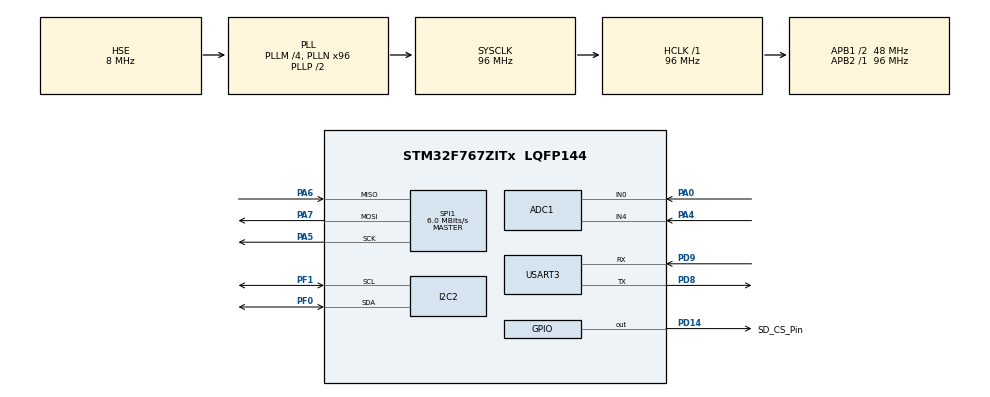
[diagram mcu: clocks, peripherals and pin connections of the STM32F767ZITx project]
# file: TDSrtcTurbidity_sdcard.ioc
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ADC1.Channel-0\#ChannelRegularConversion=ADC_CHANNEL_0
ADC1.NbrOfConversionFlag=1
ADC1.Rank-0\#ChannelRegularConversion=1
ADC1.SamplingTime-0\#ChannelRegularConversion=ADC_SAMPLETIME_3CYCLES
ADC1.master=1
I2C2.Timing=0x20303E5D
Mcu.Family=STM32F7
Mcu.Name=STM32F767ZITx
Mcu.Package=LQFP144
NVIC.PriorityGroup=NVIC_PRIORITYGROUP_4
PA0/WKUP.Signal=ADCx_IN0
PA4.Signal=ADCx_IN4
PA5.Mode=Full_Duplex_Master
PA5.Signal=SPI1_SCK
PA6.Mode=Full_Duplex_Master
PA6.Signal=SPI1_MISO
PA7.Mode=Full_Duplex_Master
PA7.Signal=SPI1_MOSI
PD14.GPIO_Label=SD_CS_Pin
PD14.GPIO_Speed=GPIO_SPEED_FREQ_VERY_HIGH
PD14.Signal=GPIO_Output
PD8.Mode=Asynchronous
PD8.Signal=USART3_TX
PD9.Mode=Asynchronous
PD9.Signal=USART3_RX
PF0.Mode=I2C
PF0.Signal=I2C2_SDA
PF1.Mode=I2C
PF1.Signal=I2C2_SCL
PH0/OSC_IN.Mode=HSE-External-Oscillator
PH0/OSC_IN.Signal=RCC_OSC_IN
PH1/OSC_OUT.Mode=HSE-External-Oscillator
PH1/OSC_OUT.Signal=RCC_OSC_OUT
ProjectManager.HeapSize=0x200
ProjectManager.StackSize=0x400
ProjectManager.TargetToolchain=STM32CubeIDE
RCC.48MHZClocksFreq_Value=24000000
RCC.AHBFreq_Value=96000000
RCC.APB1CLKDivider=RCC_HCLK_DIV2
RCC.APB1Freq_Value=48000000
RCC.APB1TimFreq_Value=96000000
RCC.APB2Freq_Value=96000000
RCC.APB2TimFreq_Value=96000000
RCC.CortexFreq_Value=96000000
RCC.HCLKFreq_Value=96000000
RCC.HSE_VALUE=8000000
RCC.HSI_VALUE=16000000
RCC.LSE_VALUE=32768
RCC.PLLM=4
RCC.PLLMUL=RCC_PLL_MUL9
RCC.PLLN=96
RCC.PLLQ=4
RCC.PLLSourceVirtual=RCC_PLLSOURCE_HSE
RCC.PRESCALERUSB=RCC_USBCLKSOURCE_PLL_DIV1_5
RCC.SYSCLKFreq_VALUE=96000000
RCC.SYSCLKSource=RCC_SYSCLKSOURCE_PLLCLK
RCC.SYSCLKSourceVirtual=RCC_SYSCLKSOURCE_PLLCLK
RCC.USBFreq_Value=48000000
RCC.VCOOutputFreq_Value=192000000
SH.ADCx_IN0.0=ADC1_IN0,IN0
SH.ADCx_IN4.0=ADC1_IN4,IN4
SPI1.BaudRatePrescaler=SPI_BAUDRATEPRESCALER_16
SPI1.CalculateBaudRate=6.0 MBits/s
SPI1.DataSize=SPI_DATASIZE_8BIT
SPI1.Direction=SPI_DIRECTION_2LINES
SPI1.Mode=SPI_MODE_MASTER
SPI1.VirtualType=VM_MASTER
USART3.VirtualMode-Asynchronous=VM_ASYNC
VP_FATFS_VS_Generic.Mode=User_defined
VP_RTC_VS_RTC_Activate.Mode=RTC_Enabled
board=NUCLEO-F767ZI

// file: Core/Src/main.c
/* USER CODE BEGIN Header */
/**
  ******************************************************************************
  * @file           : main.c
  * @brief          : Main program body
  ******************************************************************************
  * @attention
  *
  * Copyright (c) 2025 STMicroelectronics.
  * All rights reserved.
  *
  * This software is licensed under terms that can be found in the LICENSE file
  * in the root directory of this software component.
  * If no LICENSE file comes with this software, it is provided AS-IS.
  *
  ******************************************************************************
  */
/* USER CODE END Header */
#include "main.h"
#include "fatfs.h"

/* USER CODE BEGIN PTD */
#define VREF 3.3f
#define VREF_T 3.3f
#define ADC_RES 4096.0f
#define TEMP 25.0f
#define ADDRESS_LCD 0x27
#define SAMPLES 30
/* USER CODE END PTD */

ADC_HandleTypeDef hadc1;

I2C_HandleTypeDef hi2c2;

RTC_HandleTypeDef hrtc;

SPI_HandleTypeDef hspi1;

UART_HandleTypeDef huart3;

/* USER CODE BEGIN PV */
uint32_t adc_samples[SAMPLES];
char csv_buffer[150];
UINT bytes_read;
RTC_DateTypeDef current_date;
/* USER CODE END PV */

void SystemClock_Config(void);
static void MX_GPIO_Init(void);
static void MX_DMA_Init(void);
static void MX_USART3_UART_Init(void);
static void MX_ADC1_Init(void);
static void MX_I2C2_Init(void);
static void MX_RTC_Init(void);
static void MX_SPI1_Init(void);
/* USER CODE BEGIN PFP */
/* USER CODE BEGIN PFP */

/* USER CODE BEGIN PFP */
int _write(int file, char *ptr, int len)
{
    HAL_UART_Transmit(&huart3, (uint8_t*)ptr, len, HAL_MAX_DELAY);
    return len;
}

uint32_t adc_value = 0;
float volt = 0;
float tds_val, turbidity_val = 0;
uint8_t uart_buf[50];
RTC_TimeTypeDef current_time;
RTC_TimeTypeDef last_time;
uint8_t first_run = 1;
/* USER CODE END PFP */

/* USER CODE BEGIN 0 */
void lcd_send_cmd (char cmd)
{
  char data_u, data_l,ret1;
	uint8_t data_t[4];
	data_u = (cmd&0xf0);
	data_l = ((cmd<<4)&0xf0);
	data_t[0] = data_u|0x0C;  //en=1, rs=0
	data_t[1] = data_u|0x08;  //en=0, rs=0
	data_t[2] = data_l|0x0C;  //en=1, rs=0
	data_t[3] = data_l|0x08;  //en=0, rs=0
	ret1 = HAL_I2C_Master_Transmit (&hi2c2, (ADDRESS_LCD << 1) ,(uint8_t *) data_t, 4, 100);
}

void lcd_send_data (char data)
{
	char data_u, data_l;
	uint8_t data_t[4];
	data_u = (data&0xf0);
	data_l = ((data<<4)&0xf0);
	data_t[0] = data_u|0x0D;  //en=1, rs=1
	data_t[1] = data_u|0x09;  //en=0, rs=1
	data_t[2] = data_l|0x0D;  //en=1, rs=1
	data_t[3] = data_l|0x09;  //en=0, rs=1
	HAL_I2C_Master_Transmit (&hi2c2, (ADDRESS_LCD << 1),(uint8_t *) data_t, 4, 100);
}

void lcd_init (void)
{
	// 4 bit initialisation

	lcd_send_cmd (0x28);
	HAL_Delay(1);
	lcd_send_cmd (0x08);
	HAL_Delay(1);
	lcd_send_cmd (0x01);
	HAL_Delay(1);
	HAL_Delay(1);
	lcd_send_cmd (0x06);
	HAL_Delay(1);
	lcd_send_cmd (0x0C);
}

void lcd_send_string (char *str)
{
	while (*str) lcd_send_data (*str++);
}

/* Private user code ---------------------------------------------------------*/
/* USER CODE BEGIN 0 */
float READ_TDS_Sensor(void)
{
    float tds = 0;
    float voltage = 0;
    uint32_t adc_sum = 0;

    // ADD THIS: Configure ADC for Channel 0 (PA0) - TDS Sensor
    ADC_ChannelConfTypeDef sConfig = {0};
    sConfig.Channel = ADC_CHANNEL_0;  // PA0 for TDS
    sConfig.Rank = ADC_REGULAR_RANK_1;
    sConfig.SamplingTime = ADC_SAMPLETIME_3CYCLES;
    HAL_ADC_ConfigChannel(&hadc1, &sConfig);

    // Take 30 samples
    for(int i = 0; i < SAMPLES; i++)
    {
        HAL_ADC_Start(&hadc1);
        if(HAL_ADC_PollForConversion(&hadc1, 100) == HAL_OK)
        {
            adc_samples[i] = HAL_ADC_GetValue(&hadc1);
            adc_sum += adc_samples[i];
        }
        HAL_ADC_Stop(&hadc1);
        HAL_Delay(33);  // 33ms × 30 = ~1 second total
    }

    // Calculate average
    uint32_t adc_avg = adc_sum / SAMPLES;
    voltage = (adc_avg * VREF) / ADC_RES;

    // Calculate TDS
    tds = (133.42f * voltage * voltage * voltage
           - 255.86f * voltage * voltage
           + 857.39f * voltage) * 0.5f;

    if(tds < 0) tds = 0;

    return tds;
}

float READ_Turbidity_Sensor(void)
{
    float turbidity = 0;
    uint32_t adc_sum = 0;

    // Configure ADC for Channel 4 (PA4)
    ADC_ChannelConfTypeDef sConfig = {0};
    sConfig.Channel = ADC_CHANNEL_4;
    sConfig.Rank = ADC_REGULAR_RANK_1;
    sConfig.SamplingTime = ADC_SAMPLETIME_3CYCLES;
    HAL_ADC_ConfigChannel(&hadc1, &sConfig);

    // Take 30 samples for noise reduction
    for(int i = 0; i < SAMPLES; i++)
    {
        HAL_ADC_Start(&hadc1);
        if(HAL_ADC_PollForConversion(&hadc1, 100) == HAL_OK)
        {
            adc_samples[i] = HAL_ADC_GetValue(&hadc1);
            adc_sum += adc_samples[i];
        }
        HAL_ADC_Stop(&hadc1);
        HAL_Delay(33);
    }

    // Calculate average ADC value
    float adc_avg = (float)(adc_sum / SAMPLES);

    // ========================================
    // CALIBRATION CONSTANTS (Measure these!)
    // ========================================
    // Calibration Point 1: Clean water
    const float ADC_CLEAN = 2800.0f;   // ADC value for clean water (0-5 NTU)
    const float NTU_CLEAN = 0.0f;      // Reference NTU for clean water

    // Calibration Point 2: Turbid standard
    const float ADC_TURBID = 300.0f;   // ADC value for turbid water (1000 NTU)
    const float NTU_TURBID = 1000.0f;  // Reference NTU for turbid water

    // ========================================
    // LINEAR CALIBRATION FORMULA
    // ========================================
    // Calculate slope (m)
    float m = (NTU_TURBID - NTU_CLEAN) / (ADC_TURBID - ADC_CLEAN);

    // Calculate y-intercept (b)
    float b = NTU_CLEAN - (m * ADC_CLEAN);

    // Apply linear equation: NTU = m * ADC + b
    turbidity = (m * adc_avg) + b;

    // Limit to valid range
    if(turbidity < 0) turbidity = 0;
    if(turbidity > 3000) turbidity = 3000;

    return turbidity;
}

uint8_t Check_Time(uint8_t seconds)

{
	RTC_TimeTypeDef current_date;
	HAL_RTC_GetTime(&hrtc, &current_time, RTC_FORMAT_BIN);
	HAL_RTC_GetDate(&hrtc, &current_date, RTC_FORMAT_BIN);

	if (first_run)
	{
		last_time = current_time;

		first_run = 0;
	}
int32_t time_diff = current_time.Seconds - last_time.Seconds;
if (time_diff < 0)
{
    time_diff += 60;
}

if (time_diff >= seconds)

{
last_time = current_time;
return 1;
}

return 0;
}

// Water Quality Assessment
const char* Get_Water_Quality(int tds, int turbidity)
{
    if (tds >= 900 || turbidity >= 300)
        return "BAD";
    else if (tds >= 600 || turbidity >= 150)
        return "FAIR";
    else if (tds >= 300 || turbidity >= 50)
        return "GOOD";
    else
        return "EXCELLENT";
}

// Water Quality Data Logger Function
void Water_Quality_DataLogger(void)
{
    printf("\r\n");
    printf(" WATER QUALITY DATA LOGGER  \r\n");
    printf(" TDS Sensor (PA0) + Turbidity Sensor (PA4)       \r\n");
    printf(" SD Card Storage + LCD Display                   \r\n");
    printf("\r\n");

    // Display on LCD
    lcd_send_cmd(0x01); // Clear
    HAL_Delay(5);
    lcd_send_cmd(0x80);
    lcd_send_string("Water Logger");
    lcd_send_cmd(0xC0);
    lcd_send_string("Starting...");
    HAL_Delay(2000);

    // Mount SD Card
    printf("Step 1: Mounting SD Card...\r\n");
    lcd_send_cmd(0x01);
    lcd_send_cmd(0x80);
    lcd_send_string("Mount SD Card..");

    if (sd_mount() != 0)
    {
        printf("ERROR: SD Card Mount Failed!\r\n");
        printf("   Check connections and try again.\r\n");
        lcd_send_cmd(0xC0);
        lcd_send_string("SD FAIL!");
        return;
    }

    printf("SD Card Mounted Successfully\r\n");
    lcd_send_cmd(0xC0);
    lcd_send_string("SD OK!");
    HAL_Delay(1000);

    // Create CSV file with header
    printf("\r\nStep 2: Creating CSV file...\r\n");
    const char *filename = "log.csv";
    const char *header = "Sample,TDS(ppm),Turbidity(NTU),Quality,Time\r\n";

    if (sd_write_file(filename, header) != 0)
    {
        printf("Failed to create CSV file!\r\n");
        sd_unmount();
        return;
    }

    printf("File created: %s\r\n", filename);

    // Log 10 samples
    printf("\r\nStep 3: Logging 10 Water Quality Samples...\r\n");

    lcd_send_cmd(0x01);
    lcd_send_cmd(0x80);
    lcd_send_string("Logging Data...");

    for (int sample = 1; sample <= 10; sample++)
    {
        // Get current time
        HAL_RTC_GetTime(&hrtc, &current_time, RTC_FORMAT_BIN);
        HAL_RTC_GetDate(&hrtc, &current_date, RTC_FORMAT_BIN);

        // Read sensors
        printf("\r\n[Sample %02d/10] Reading sensors...\r\n", sample);

        float tds_value = READ_TDS_Sensor();
        float turb_value = READ_Turbidity_Sensor();

        int tds_int = (int)(tds_value + 0.5f);
        int turb_int = (int)(turb_value + 0.5f);
        const char *quality = Get_Water_Quality(tds_int, turb_int);

        // Display on LCD
        lcd_send_cmd(0xC0);
        char lcd_line[20];
        snprintf(lcd_line, 20, "S%02d:%d/%d", sample, tds_int, turb_int);
        lcd_send_string(lcd_line);

        // Format time string
        char time_str[10];
        snprintf(time_str, 10, "%02d:%02d:%02d",
                 current_time.Hours, current_time.Minutes, current_time.Seconds);

        // Format CSV row
        snprintf(csv_buffer, sizeof(csv_buffer),
                 "%d,%d,%d,%s,%s\r\n",
                 sample, tds_int, turb_int, quality, time_str);

        // Write to SD card
        if (sd_append_file(filename, csv_buffer) == 0)
        {
            printf("Sample %02d | TDS: %4d ppm | Turb: %4d NTU | Quality: %s | Time: %s\r\n",
                   sample, tds_int, turb_int, quality, time_str);
        }
        else
        {
            printf("Failed to write sample %d\r\n", sample);
        }

        HAL_Delay(500); // Delay between samples
    }

    printf("================================================\r\n");
    printf("All 10 samples logged successfully!\r\n");

    // Display completion on LCD
    lcd_send_cmd(0x01);
    lcd_send_cmd(0x80);
    lcd_send_string("Logging Done!");
    lcd_send_cmd(0xC0);
    lcd_send_string("10 Samples Saved");
    HAL_Delay(2000);

    // Read back and display file preview
    printf("\r\nStep 4: Reading CSV file back...\r\n");
    if (sd_read_file(filename, csv_buffer, sizeof(csv_buffer), &bytes_read) == 0)
    {
        printf("================================================\r\n");
        printf("File Preview (%u bytes):\r\n", bytes_read);
        printf("================================================\r\n");
        printf("%s", csv_buffer);
        printf("================================================\r\n");
    }

    // List files on SD card
    printf("\r\nStep 5: Files on SD Card:\r\n");
    sd_list_files();

    // Unmount SD card
    printf("\r\nStep 6: Unmounting SD card...\r\n");
    sd_unmount();

    printf("\r\n");
    printf("          DATA LOGGING COMPLETE!                 \r\n");
    printf("   Remove SD card and check 'log.csv'      \r\n");
    printf("\r\n");

    // Final LCD message
    lcd_send_cmd(0x01);
    lcd_send_cmd(0x80);
    lcd_send_string("Remove SD Card");
    lcd_send_cmd(0xC0);
    lcd_send_string("Check CSV File!");
}

/* USER CODE END 0 */

int main(void)
{

  /* MCU Configuration--------------------------------------------------------*/

  /* Reset of all peripherals, Initializes the Flash interface and the Systick. */
  HAL_Init();

  /* Configure the system clock */
  SystemClock_Config();

  /* Initialize all configured peripherals */
  MX_GPIO_Init();
  MX_DMA_Init();
  MX_USART3_UART_Init();
  MX_ADC1_Init();
  MX_I2C2_Init();
  MX_RTC_Init();
  MX_SPI1_Init();
  //MX_FATFS_Init();
  /* USER CODE BEGIN 2 */
  lcd_init();
  lcd_send_cmd(0x80);
  lcd_send_string("Water Quality");
  lcd_send_cmd(0xC0);
  lcd_send_string("Data Logger v3.0");
  HAL_Delay(3000);

  printf("\r\n\r\n");
  printf("STM32F767ZI Water Quality Logger\r\n");

  HAL_Delay(1000);
  Water_Quality_DataLogger();

  printf("\r\n💡 TIP: Insert SD card in PC to view log.csv\r\n");
  /* USER CODE END 2 */

  /* Infinite loop */
  while (1)
  {

  /* USER CODE BEGIN 3 */
      // YOUR ORIGINAL CODE - Runs every 2 seconds
      if(Check_Time(2))
      {
          tds_val = READ_TDS_Sensor();
          turbidity_val = READ_Turbidity_Sensor();

          int tds_int = (int)(tds_val + 0.5f);
          int turb_int = (int)(turbidity_val + 0.5f);

          // Print to UART
          int len = snprintf((char*)uart_buf, sizeof(uart_buf),
                            "TDS: %d ppm | Turbidity: %d NTU\r\n",
                            tds_int, turb_int);
          HAL_UART_Transmit(&huart3, uart_buf, len, 200);

          // Display on LCD - Line 1: TDS
          lcd_send_cmd(0x80);
          char line1[20];
          snprintf(line1, 20, "TDS:%d", tds_int);
          lcd_send_string(line1);

          // Display on LCD - Line 2: Turbidity
          lcd_send_cmd(0xC9);
          char line2[20];
          snprintf(line2, 20, "Tur:%d", turb_int);
          lcd_send_string(line2);

          lcd_send_cmd(0xC0);

          // Water quality status
          if(tds_int >= 900 || turb_int >= 300)
              lcd_send_string("BAD");
          else if(tds_int >= 600 || turb_int >= 150)
              lcd_send_string("FAR");
          else if(tds_int >= 300 || turb_int >= 50)
              lcd_send_string("Good");
          else
              lcd_send_string("EXC");
      }
  }
}
void SystemClock_Config(void)
{
  RCC_OscInitTypeDef RCC_OscInitStruct = {0};
  RCC_ClkInitTypeDef RCC_ClkInitStruct = {0};

  /** Configure the main internal regulator output voltage
  */
  __HAL_RCC_PWR_CLK_ENABLE();
  __HAL_PWR_VOLTAGESCALING_CONFIG(PWR_REGULATOR_VOLTAGE_SCALE3);

  /** Initializes the RCC Oscillators according to the specified parameters
  * in the RCC_OscInitTypeDef structure.
  */
  RCC_OscInitStruct.OscillatorType = RCC_OSCILLATORTYPE_LSI|RCC_OSCILLATORTYPE_HSE;
  RCC_OscInitStruct.HSEState = RCC_HSE_ON;
  RCC_OscInitStruct.LSIState = RCC_LSI_ON;
  RCC_OscInitStruct.PLL.PLLState = RCC_PLL_ON;
  RCC_OscInitStruct.PLL.PLLSource = RCC_PLLSOURCE_HSE;
  RCC_OscInitStruct.PLL.PLLM = 4;
  RCC_OscInitStruct.PLL.PLLN = 96;
  RCC_OscInitStruct.PLL.PLLP = RCC_PLLP_DIV2;
  RCC_OscInitStruct.PLL.PLLQ = 4;
  RCC_OscInitStruct.PLL.PLLR = 2;
  if (HAL_RCC_OscConfig(&RCC_OscInitStruct) != HAL_OK)
  {
    Error_Handler();
  }

  /** Activate the Over-Drive mode
  */
  if (HAL_PWREx_EnableOverDrive() != HAL_OK)
  {
    Error_Handler();
  }

  /** Initializes the CPU, AHB and APB buses clocks
  */
  RCC_ClkInitStruct.ClockType = RCC_CLOCKTYPE_HCLK|RCC_CLOCKTYPE_SYSCLK
                              |RCC_CLOCKTYPE_PCLK1|RCC_CLOCKTYPE_PCLK2;
  RCC_ClkInitStruct.SYSCLKSource = RCC_SYSCLKSOURCE_PLLCLK;
  RCC_ClkInitStruct.AHBCLKDivider = RCC_SYSCLK_DIV1;
  RCC_ClkInitStruct.APB1CLKDivider = RCC_HCLK_DIV2;
  RCC_ClkInitStruct.APB2CLKDivider = RCC_HCLK_DIV1;

  if (HAL_RCC_ClockConfig(&RCC_ClkInitStruct, FLASH_LATENCY_3) != HAL_OK)
  {
    Error_Handler();
  }
}

static void MX_ADC1_Init(void)
{

  ADC_ChannelConfTypeDef sConfig = {0};

  /** Configure the global features of the ADC (Clock, Resolution, Data Alignment and number of conversion)
  */
  hadc1.Instance = ADC1;
  hadc1.Init.ClockPrescaler = ADC_CLOCK_SYNC_PCLK_DIV4;
  hadc1.Init.Resolution = ADC_RESOLUTION_12B;
  hadc1.Init.ScanConvMode = ADC_SCAN_DISABLE;
  hadc1.Init.ContinuousConvMode = DISABLE;
  hadc1.Init.DiscontinuousConvMode = DISABLE;
  hadc1.Init.ExternalTrigConvEdge = ADC_EXTERNALTRIGCONVEDGE_NONE;
  hadc1.Init.ExternalTrigConv = ADC_SOFTWARE_START;
  hadc1.Init.DataAlign = ADC_DATAALIGN_RIGHT;
  hadc1.Init.NbrOfConversion = 1;
  hadc1.Init.DMAContinuousRequests = DISABLE;
  hadc1.Init.EOCSelection = ADC_EOC_SINGLE_CONV;
  if (HAL_ADC_Init(&hadc1) != HAL_OK)
  {
    Error_Handler();
  }

  /** Configure for the selected ADC regular channel its corresponding rank in the sequencer and its sample time.
  */
  sConfig.Channel = ADC_CHANNEL_0;
  sConfig.Rank = ADC_REGULAR_RANK_1;
  sConfig.SamplingTime = ADC_SAMPLETIME_3CYCLES;
  if (HAL_ADC_ConfigChannel(&hadc1, &sConfig) != HAL_OK)
  {
    Error_Handler();
  }

}

static void MX_I2C2_Init(void)
{

  hi2c2.Instance = I2C2;
  hi2c2.Init.Timing = 0x20303E5D;
  hi2c2.Init.OwnAddress1 = 0;
  hi2c2.Init.AddressingMode = I2C_ADDRESSINGMODE_7BIT;
  hi2c2.Init.DualAddressMode = I2C_DUALADDRESS_DISABLE;
  hi2c2.Init.OwnAddress2 = 0;
  hi2c2.Init.OwnAddress2Masks = I2C_OA2_NOMASK;
  hi2c2.Init.GeneralCallMode = I2C_GENERALCALL_DISABLE;
  hi2c2.Init.NoStretchMode = I2C_NOSTRETCH_DISABLE;
  if (HAL_I2C_Init(&hi2c2) != HAL_OK)
  {
    Error_Handler();
  }

  /** Configure Analogue filter
  */
  if (HAL_I2CEx_ConfigAnalogFilter(&hi2c2, I2C_ANALOGFILTER_ENABLE) != HAL_OK)
  {
    Error_Handler();
  }

  /** Configure Digital filter
  */
  if (HAL_I2CEx_ConfigDigitalFilter(&hi2c2, 0) != HAL_OK)
  {
    Error_Handler();
  }

}

static void MX_RTC_Init(void)
{

  /** Initialize RTC Only
  */
  hrtc.Instance = RTC;
  hrtc.Init.HourFormat = RTC_HOURFORMAT_24;
  hrtc.Init.AsynchPrediv = 127;
  hrtc.Init.SynchPrediv = 255;
  hrtc.Init.OutPut = RTC_OUTPUT_DISABLE;
  hrtc.Init.OutPutPolarity = RTC_OUTPUT_POLARITY_HIGH;
  hrtc.Init.OutPutType = RTC_OUTPUT_TYPE_OPENDRAIN;
  if (HAL_RTC_Init(&hrtc) != HAL_OK)
  {
    Error_Handler();
  }

}

static void MX_SPI1_Init(void)
{

  /* SPI1 parameter configuration*/
  hspi1.Instance = SPI1;
  hspi1.Init.Mode = SPI_MODE_MASTER;
  hspi1.Init.Direction = SPI_DIRECTION_2LINES;
  hspi1.Init.DataSize = SPI_DATASIZE_8BIT;
  hspi1.Init.CLKPolarity = SPI_POLARITY_LOW;
  hspi1.Init.CLKPhase = SPI_PHASE_1EDGE;
  hspi1.Init.NSS = SPI_NSS_SOFT;
  hspi1.Init.BaudRatePrescaler = SPI_BAUDRATEPRESCALER_16;
  hspi1.Init.FirstBit = SPI_FIRSTBIT_MSB;
  hspi1.Init.TIMode = SPI_TIMODE_DISABLE;
  hspi1.Init.CRCCalculation = SPI_CRCCALCULATION_DISABLE;
  hspi1.Init.CRCPolynomial = 7;
  hspi1.Init.CRCLength = SPI_CRC_LENGTH_DATASIZE;
  hspi1.Init.NSSPMode = SPI_NSS_PULSE_ENABLE;
  if (HAL_SPI_Init(&hspi1) != HAL_OK)
  {
    Error_Handler();
  }

}

static void MX_USART3_UART_Init(void)
{

  huart3.Instance = USART3;
  huart3.Init.BaudRate = 115200;
  huart3.Init.WordLength = UART_WORDLENGTH_8B;
  huart3.Init.StopBits = UART_STOPBITS_1;
  huart3.Init.Parity = UART_PARITY_NONE;
  huart3.Init.Mode = UART_MODE_TX_RX;
  huart3.Init.HwFlowCtl = UART_HWCONTROL_NONE;
  huart3.Init.OverSampling = UART_OVERSAMPLING_16;
  huart3.Init.OneBitSampling = UART_ONE_BIT_SAMPLE_DISABLE;
  huart3.AdvancedInit.AdvFeatureInit = UART_ADVFEATURE_NO_INIT;
  if (HAL_UART_Init(&huart3) != HAL_OK)
  {
    Error_Handler();
  }

}

static void MX_DMA_Init(void)
{

  /* DMA controller clock enable */
  __HAL_RCC_DMA2_CLK_ENABLE();

  /* DMA interrupt init */
  /* DMA2_Stream0_IRQn interrupt configuration */
  HAL_NVIC_SetPriority(DMA2_Stream0_IRQn, 0, 0);
  HAL_NVIC_EnableIRQ(DMA2_Stream0_IRQn);
  /* DMA2_Stream3_IRQn interrupt configuration */
  HAL_NVIC_SetPriority(DMA2_Stream3_IRQn, 0, 0);
  HAL_NVIC_EnableIRQ(DMA2_Stream3_IRQn);

}

static void MX_GPIO_Init(void)
{
  GPIO_InitTypeDef GPIO_InitStruct = {0};

  /* GPIO Ports Clock Enable */
  __HAL_RCC_GPIOF_CLK_ENABLE();
  __HAL_RCC_GPIOH_CLK_ENABLE();
  __HAL_RCC_GPIOA_CLK_ENABLE();
  __HAL_RCC_GPIOD_CLK_ENABLE();

  /*Configure GPIO pin Output Level */
  HAL_GPIO_WritePin(GPIOD, GPIO_PIN_14, GPIO_PIN_SET);

  /*Configure GPIO pin : PD14 */
  GPIO_InitStruct.Pin = GPIO_PIN_14;
  GPIO_InitStruct.Mode = GPIO_MODE_OUTPUT_PP;
  GPIO_InitStruct.Pull = GPIO_NOPULL;
  GPIO_InitStruct.Speed = GPIO_SPEED_FREQ_VERY_HIGH;
  HAL_GPIO_Init(GPIOD, &GPIO_InitStruct);

}

void Error_Handler(void)
{
  __disable_irq();
  while (1)
  {
  }
}
